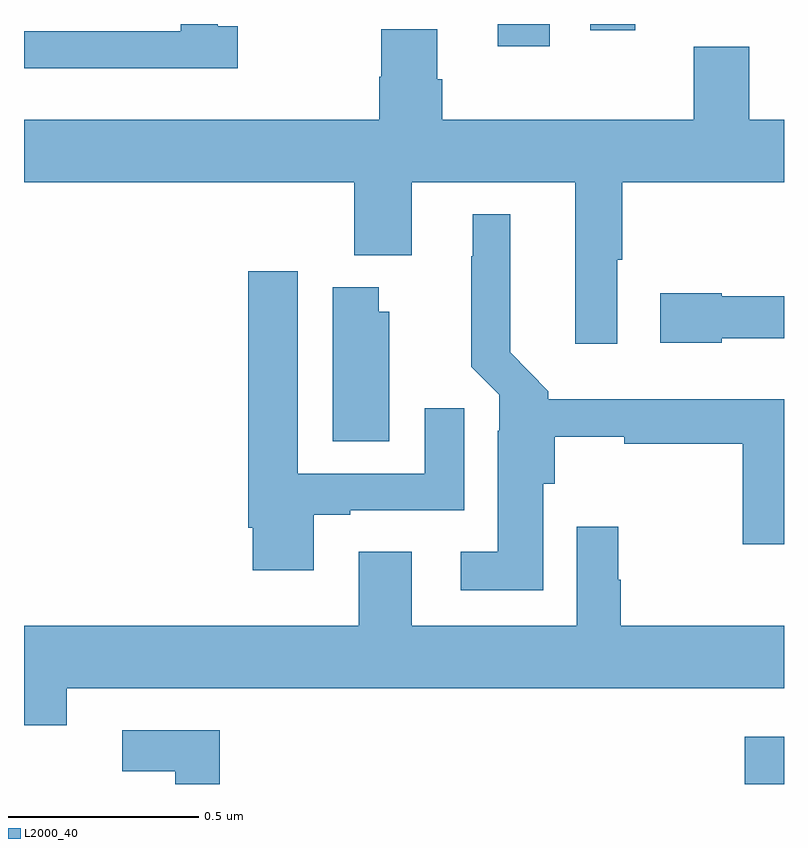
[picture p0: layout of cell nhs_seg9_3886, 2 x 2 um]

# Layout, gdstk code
import gdstk
lib = gdstk.Library(unit=1e-6, precision=1e-09)
def R(c, l, rs):  # rectangles x0, y0, x1, y1
    for r in rs: c.add(gdstk.rectangle(r[:2], r[2:], *l))
def P(c, l, *ps):  # polygons
    for p in ps: c.add(gdstk.Polygon(p, *l))
L2000_40 = (2000, 40)

nhs_seg9_3886 = lib.new_cell('nhs_seg9_3886')
R(nhs_seg9_3886, L2000_40, [(160.897,1197.5,161,1197.625), (160.247,1199.442,160.383,1199.5), (160.49,1199.484,160.609,1199.5)])
P(nhs_seg9_3886, L2000_40, [(159.562,1199.494),(159.51,1199.494),(159.51,1199.5),(159.413,1199.5),(159.413,1199.481),(159,1199.481),(159,1199.384),(159.562,1199.384)],
  [(160.561,1198.879),(160.574,1198.879),(160.574,1199.084),(161,1199.084),(161,1199.248),(160.909,1199.248),(160.909,1199.44),(160.762,1199.44),(160.762,1199.248),(160.1,1199.248),(160.1,1199.354),(160.087,1199.354),(160.087,1199.486),(159.94,1199.486),(159.94,1199.361),(159.935,1199.361),(159.935,1199.248),(159,1199.248),(159,1199.084),(159.869,1199.084),(159.869,1198.892),(160.021,1198.892),(160.021,1199.084),(160.451,1199.084),(160.451,1198.659),(160.561,1198.659)],
  [(160.366,1198.29),(160.397,1198.29),(160.397,1198.414),(160.58,1198.414),(160.58,1198.396),(160.892,1198.396),(160.892,1198.131),(161,1198.131),(161,1198.513),(160.38,1198.513),(160.38,1198.534),(160.279,1198.636),(160.279,1198.999),(160.181,1198.999),(160.181,1198.889),(160.177,1198.889),(160.177,1198.598),(160.251,1198.524),(160.251,1198.43),(160.247,1198.43),(160.247,1198.111),(160.149,1198.111),(160.149,1198.01),(160.366,1198.01)],
  [(159.763,1198.209),(159.859,1198.209),(159.859,1198.221),(160.159,1198.221),(160.159,1198.489),(160.055,1198.489),(160.055,1198.317),(159.721,1198.317),(159.721,1198.849),(159.59,1198.849),(159.59,1198.174),(159.602,1198.174),(159.602,1198.062),(159.763,1198.062)],
  [(159.961,1198.743),(159.934,1198.743),(159.934,1198.807),(159.812,1198.807),(159.812,1198.402),(159.961,1198.402)],
  [(160.836,1198.673),(161,1198.673),(161,1198.783),(160.836,1198.783),(160.836,1198.791),(160.674,1198.791),(160.674,1198.661),(160.836,1198.661)],
  [(159.112,1197.752),(161,1197.752),(161,1197.916),(160.571,1197.916),(160.571,1198.038),(160.564,1198.038),(160.564,1198.177),(160.455,1198.177),(160.455,1197.916),(160.021,1197.916),(160.021,1198.111),(159.881,1198.111),(159.881,1197.916),(159,1197.916),(159,1197.654),(159.112,1197.654)],
  [(159.515,1197.642),(159.258,1197.642),(159.258,1197.534),(159.398,1197.534),(159.398,1197.5),(159.515,1197.5)])

lib.write_gds('nhs_seg9_3886.gds')
